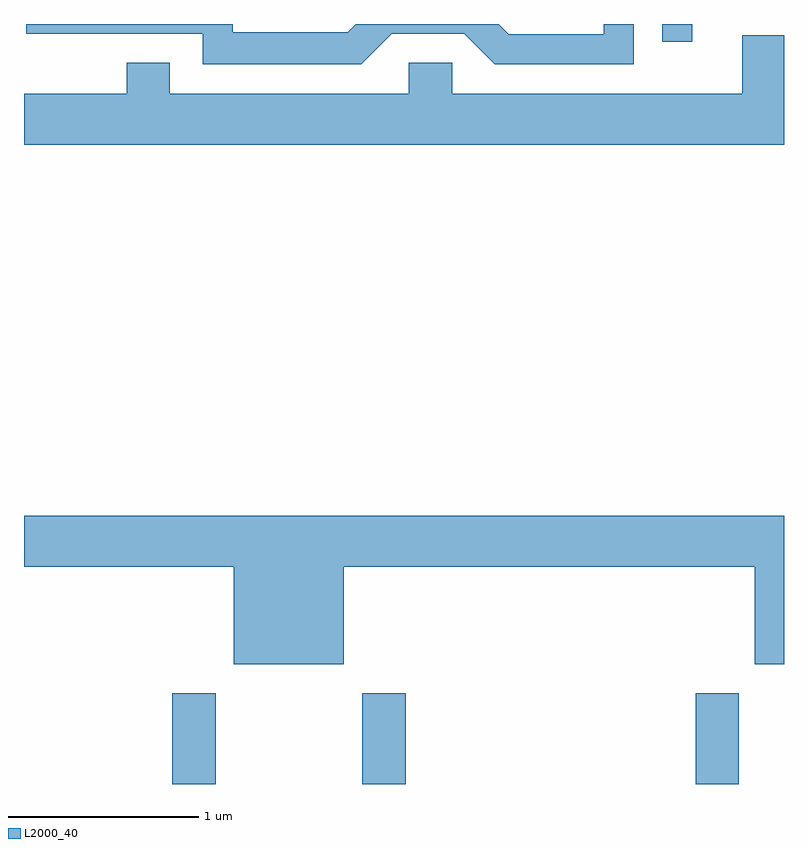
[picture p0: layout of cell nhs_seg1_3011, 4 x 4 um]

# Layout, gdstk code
import gdstk
lib = gdstk.Library(unit=1e-6, precision=1e-09)
def R(c, l, rs):  # rectangles x0, y0, x1, y1
    for r in rs: c.add(gdstk.rectangle(r[:2], r[2:], *l))
def P(c, l, *ps):  # polygons
    for p in ps: c.add(gdstk.Polygon(p, *l))
L2000_40 = (2000, 40)

nhs_seg1_3011 = lib.new_cell('nhs_seg1_3011')
R(nhs_seg1_3011, L2000_40, [(276.391,951.712,276.619,952.189), (277.391,951.712,277.619,952.189), (279.146,951.712,279.374,952.189), (278.971,955.618,279.129,955.712)])
P(nhs_seg1_3011, L2000_40, [(277.547,955.661),(277.929,955.661),(278.089,955.501),(278.819,955.501),(278.819,955.712),(278.661,955.712),(278.661,955.659),(278.162,955.659),(278.109,955.712),(277.357,955.712),(277.314,955.669),(276.709,955.669),(276.709,955.712),(275.623,955.712),(275.623,955.661),(276.551,955.661),(276.551,955.501),(277.387,955.501)],
  [(279.611,955.654),(279.391,955.654),(279.391,955.344),(277.864,955.344),(277.864,955.509),(277.636,955.509),(277.636,955.344),(276.379,955.344),(276.379,955.509),(276.151,955.509),(276.151,955.344),(275.611,955.344),(275.611,955.076),(279.611,955.076)],
  [(277.294,952.856),(279.456,952.856),(279.456,952.341),(279.611,952.341),(279.611,953.124),(275.611,953.124),(275.611,952.856),(276.716,952.856),(276.716,952.341),(277.294,952.341)])

lib.write_gds('nhs_seg1_3011.gds')
